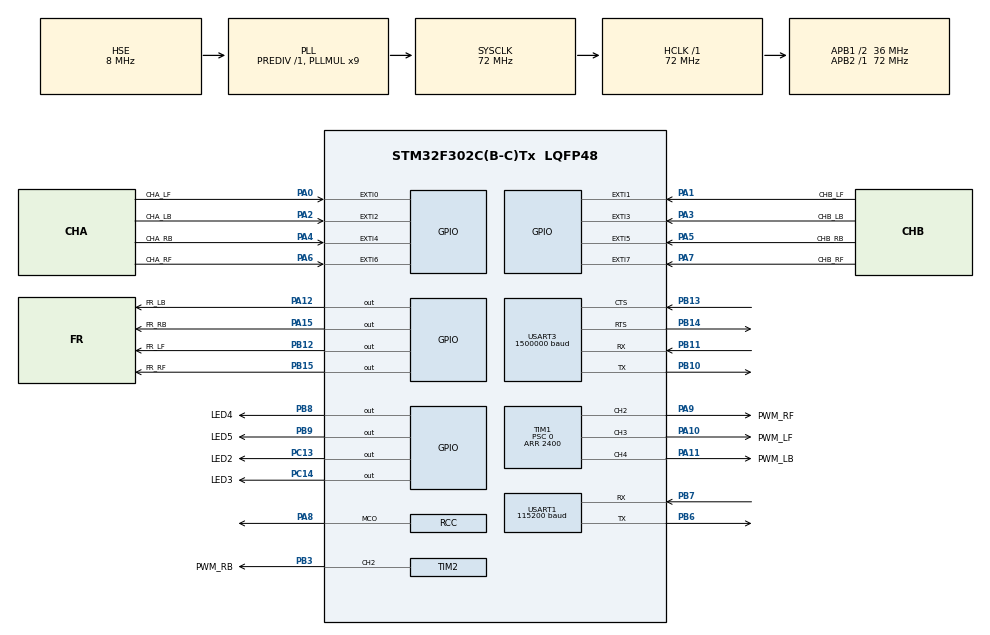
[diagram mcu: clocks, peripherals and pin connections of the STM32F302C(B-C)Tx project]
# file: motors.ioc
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Dma.Request0=USART3_RX
Dma.Request1=USART3_TX
Dma.USART3_RX.0.Direction=DMA_PERIPH_TO_MEMORY
Dma.USART3_RX.0.Instance=DMA1_Channel3
Dma.USART3_RX.0.MemDataAlignment=DMA_MDATAALIGN_BYTE
Dma.USART3_RX.0.MemInc=DMA_MINC_ENABLE
Dma.USART3_RX.0.Mode=DMA_NORMAL
Dma.USART3_RX.0.PeriphDataAlignment=DMA_PDATAALIGN_BYTE
Dma.USART3_RX.0.PeriphInc=DMA_PINC_DISABLE
Dma.USART3_RX.0.Priority=DMA_PRIORITY_LOW
Dma.USART3_TX.1.Direction=DMA_MEMORY_TO_PERIPH
Dma.USART3_TX.1.Instance=DMA1_Channel2
Dma.USART3_TX.1.MemDataAlignment=DMA_MDATAALIGN_BYTE
Dma.USART3_TX.1.MemInc=DMA_MINC_ENABLE
Dma.USART3_TX.1.Mode=DMA_NORMAL
Dma.USART3_TX.1.PeriphDataAlignment=DMA_PDATAALIGN_BYTE
Dma.USART3_TX.1.PeriphInc=DMA_PINC_DISABLE
Dma.USART3_TX.1.Priority=DMA_PRIORITY_LOW
Mcu.Family=STM32F3
Mcu.Name=STM32F302C(B-C)Tx
Mcu.Package=LQFP48
Mcu.UserConstants=MAX_PWM,2400
NVIC.DMA1_Channel2_IRQn=true\:0\:0\:false\:false\:true\:false
NVIC.DMA1_Channel3_IRQn=true\:0\:0\:false\:false\:true\:false
NVIC.PriorityGroup=NVIC_PRIORITYGROUP_4
NVIC.TIM1_UP_TIM16_IRQn=true\:0\:0\:false\:false\:true\:true
NVIC.TIM4_IRQn=true\:0\:0\:false\:false\:true\:true
NVIC.USART1_IRQn=true\:0\:0\:false\:false\:true\:true
NVIC.USART3_IRQn=true\:0\:0\:false\:false\:true\:true
PA0.GPIO_Label=CHA_LF
PA0.GPIO_ModeDefaultEXTI=GPIO_MODE_IT_RISING_FALLING
PA0.GPIO_PuPd=GPIO_NOPULL
PA0.Signal=GPXTI0
PA1.GPIO_Label=CHB_LF
PA1.GPIO_ModeDefaultEXTI=GPIO_MODE_IT_RISING_FALLING
PA1.GPIO_PuPd=GPIO_NOPULL
PA1.Signal=GPXTI1
PA10.GPIO_Label=PWM_LF
PA10.Signal=S_TIM1_CH3
PA11.GPIO_Label=PWM_LB
PA11.Signal=S_TIM1_CH4
PA12.GPIO_Label=FR_LB
PA12.Signal=GPIO_Output
PA13.Mode=Serial_Wire
PA13.Signal=SYS_JTMS-SWDIO
PA14.Mode=Serial_Wire
PA14.Signal=SYS_JTCK-SWCLK
PA15.GPIO_Label=FR_RB
PA15.Signal=GPIO_Output
PA2.GPIO_Label=CHA_LB
PA2.GPIO_ModeDefaultEXTI=GPIO_MODE_IT_RISING_FALLING
PA2.GPIO_PuPd=GPIO_NOPULL
PA2.Signal=GPXTI2
PA3.GPIO_Label=CHB_LB
PA3.GPIO_ModeDefaultEXTI=GPIO_MODE_IT_RISING_FALLING
PA3.GPIO_PuPd=GPIO_NOPULL
PA3.Signal=GPXTI3
PA4.GPIO_Label=CHA_RB
PA4.GPIO_ModeDefaultEXTI=GPIO_MODE_IT_RISING_FALLING
PA4.GPIO_PuPd=GPIO_NOPULL
PA4.Signal=GPXTI4
PA5.GPIO_Label=CHB_RB
PA5.GPIO_ModeDefaultEXTI=GPIO_MODE_IT_RISING_FALLING
PA5.GPIO_PuPd=GPIO_NOPULL
PA5.Signal=GPXTI5
PA6.GPIO_Label=CHA_RF
PA6.GPIO_ModeDefaultEXTI=GPIO_MODE_IT_RISING_FALLING
PA6.GPIO_PuPd=GPIO_NOPULL
PA6.Signal=GPXTI6
PA7.GPIO_Label=CHB_RF
PA7.GPIO_ModeDefaultEXTI=GPIO_MODE_IT_RISING_FALLING
PA7.GPIO_PuPd=GPIO_NOPULL
PA7.Signal=GPXTI7
PA8.GPIO_Speed=GPIO_SPEED_FREQ_HIGH
PA8.Mode=Clock-out
PA8.Signal=RCC_MCO
PA9.GPIO_Label=PWM_RF
PA9.Signal=S_TIM1_CH2
PB10.Mode=Asynchronous
PB10.Signal=USART3_TX
PB11.Mode=Asynchronous
PB11.Signal=USART3_RX
PB12.GPIO_Label=FR_LF
PB12.Signal=GPIO_Output
PB13.Mode=CTS_RTS
PB13.Signal=USART3_CTS
PB14.Mode=CTS_RTS
PB14.Signal=USART3_RTS
PB15.GPIO_Label=FR_RF
PB15.Signal=GPIO_Output
PB3.GPIO_Label=PWM_RB
PB3.Signal=S_TIM2_CH2
PB6.Mode=Asynchronous
PB6.Signal=USART1_TX
PB7.Mode=Asynchronous
PB7.Signal=USART1_RX
PB8.GPIO_Label=LED4
PB8.Signal=GPIO_Output
PB9.GPIO_Label=LED5
PB9.Signal=GPIO_Output
PC13.GPIO_Label=LED2
PC13.Signal=GPIO_Output
PC14-OSC32_IN.GPIO_Label=LED3
PC14-OSC32_IN.Signal=GPIO_Output
PF0-OSC_IN.Mode=HSE-External-Oscillator
PF0-OSC_IN.Signal=RCC_OSC_IN
PF1-OSC_OUT.Mode=HSE-External-Oscillator
PF1-OSC_OUT.Signal=RCC_OSC_OUT
ProjectManager.HeapSize=0x200
ProjectManager.StackSize=0x400
ProjectManager.TargetToolchain=SW4STM32
RCC.AHBFreq_Value=72000000
RCC.APB1CLKDivider=RCC_HCLK_DIV2
RCC.APB1Freq_Value=36000000
RCC.APB1TimFreq_Value=72000000
RCC.APB2Freq_Value=72000000
RCC.APB2TimFreq_Value=72000000
RCC.CortexFreq_Value=72000000
RCC.HCLKFreq_Value=72000000
RCC.HSE_VALUE=8000000
RCC.HSI_VALUE=8000000
RCC.LSE_VALUE=32768
RCC.PLLMUL=RCC_PLL_MUL9
RCC.PLLSourceVirtual=RCC_PLLSOURCE_HSE
RCC.RCC_MCOSource=RCC_MCO1SOURCE_HSE
RCC.SYSCLKFreq_VALUE=72000000
RCC.SYSCLKSourceVirtual=RCC_SYSCLKSOURCE_PLLCLK
RCC.USBFreq_Value=72000000
SH.S_TIM1_CH2.0=TIM1_CH2,PWM Generation2 CH2
SH.S_TIM1_CH3.0=TIM1_CH3,PWM Generation3 CH3
SH.S_TIM1_CH4.0=TIM1_CH4,PWM Generation4 CH4
SH.S_TIM2_CH2.0=TIM2_CH2,PWM Generation2 CH2
TIM1.Channel-PWM\ Generation2\ CH2=TIM_CHANNEL_2
TIM1.Channel-PWM\ Generation3\ CH3=TIM_CHANNEL_3
TIM1.Channel-PWM\ Generation4\ CH4=TIM_CHANNEL_4
TIM1.Period=2400
TIM1.Prescaler=0
TIM2.Channel-PWM\ Generation2\ CH2=TIM_CHANNEL_2
TIM2.Period=2400
TIM2.Prescaler=0
TIM4.Period=10000
TIM4.Prescaler=71
USART1.BaudRate=115200
USART1.SwapParam=ADVFEATURE_SWAP_ENABLE
USART1.VirtualMode-Asynchronous=VM_ASYNC
USART3.BaudRate=1500000
USART3.SwapParam=ADVFEATURE_SWAP_DISABLE
USART3.VirtualMode-Asynchronous=VM_ASYNC
VP_TIM4_VS_ClockSourceINT.Mode=Internal
board=motors

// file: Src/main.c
/**
  ******************************************************************************
  * @file           : main.c
  * @brief          : Main program body
  ******************************************************************************
  ** This notice applies to any and all portions of this file
  * that are not between comment pairs USER CODE BEGIN and
  * USER CODE END. Other portions of this file, whether
  * inserted by the user or by software development tools
  * are owned by their respective copyright owners.
  *
  * COPYRIGHT(c) 2018 STMicroelectronics
  *
  * Redistribution and use in source and binary forms, with or without modification,
  * are permitted provided that the following conditions are met:
  *   1. Redistributions of source code must retain the above copyright notice,
  *      this list of conditions and the following disclaimer.
  *   2. Redistributions in binary form must reproduce the above copyright notice,
  *      this list of conditions and the following disclaimer in the documentation
  *      and/or other materials provided with the distribution.
  *   3. Neither the name of STMicroelectronics nor the names of its contributors
  *      may be used to endorse or promote products derived from this software
  *      without specific prior written permission.
  *
  * THIS SOFTWARE IS PROVIDED BY THE COPYRIGHT HOLDERS AND CONTRIBUTORS "AS IS"
  * AND ANY EXPRESS OR IMPLIED WARRANTIES, INCLUDING, BUT NOT LIMITED TO, THE
  * IMPLIED WARRANTIES OF MERCHANTABILITY AND FITNESS FOR A PARTICULAR PURPOSE ARE
  * DISCLAIMED. IN NO EVENT SHALL THE COPYRIGHT HOLDER OR CONTRIBUTORS BE LIABLE
  * FOR ANY DIRECT, INDIRECT, INCIDENTAL, SPECIAL, EXEMPLARY, OR CONSEQUENTIAL
  * DAMAGES (INCLUDING, BUT NOT LIMITED TO, PROCUREMENT OF SUBSTITUTE GOODS OR
  * SERVICES; LOSS OF USE, DATA, OR PROFITS; OR BUSINESS INTERRUPTION) HOWEVER
  * CAUSED AND ON ANY THEORY OF LIABILITY, WHETHER IN CONTRACT, STRICT LIABILITY,
  * OR TORT (INCLUDING NEGLIGENCE OR OTHERWISE) ARISING IN ANY WAY OUT OF THE USE
  * OF THIS SOFTWARE, EVEN IF ADVISED OF THE POSSIBILITY OF SUCH DAMAGE.
  *
  ******************************************************************************
  */
#include "main.h"
#include "stm32f3xx_hal.h"
#include "dma.h"
#include "tim.h"
#include "usart.h"
#include "gpio.h"

/* USER CODE BEGIN Includes */
#include <stdlib.h>
#include <math.h>
#include "PuttyInterface/PuttyInterface.h"
#include "motorscomm/motorscomm.h"
#include "encoder/encoder.h"

/* USER CODE END Includes */

/* USER CODE BEGIN PV */
/* Private variables ---------------------------------------------------------*/
PuttyInterfaceTypeDef puttystruct;
motorscomm_HandleTypeDef motorscommstruct = {
		.huart = &huart3
};

typedef enum {
	motorscomm_Initialize,
	motorscomm_Transmitting,
	motorscomm_Idle,
	motorscomm_Failed
}motorscomm_states;
motorscomm_states motorscomm_state = motorscomm_Initialize;

uint64_t while_cnt = 0;
uint64_t while_cnt_cnt = 0;
uint64_t while_avg = 0;

int TX_err_count = 0;
int RX_err_count = 0;
int RX_count = 0;
int TX_count = 0;
HAL_StatusTypeDef error_code;

encoder_HandleTypeDef encoder_LB = {
	.CHANNEL[0] = CHA_LB_Pin,
	.CHANNEL[1] = CHB_LB_Pin,
	.CHANNEL_Port[0] = CHA_LB_GPIO_Port,
	.CHANNEL_Port[1] = CHA_LB_GPIO_Port,
	.MeasurementTimer = NULL,
	.cnt[0] = 0,
	.cnt[1] = 0,
	.direction = 0,
	.period = 0,
	.last_tim_sample = 0,
	.prev_tim_sample = 0,
	.speed = 0,
	.COUNTS_PER_ROTATION = 1024,
	.CLK_FREQUENCY = 72000000,
	.GEAR_RATIO = 3
};

/* USER CODE END PV */

void SystemClock_Config(void);

/* USER CODE BEGIN PFP */
/* Private function prototypes -----------------------------------------------*/
void HandleCommand(char* input);
void ControlMotor(wheel_number wheel, float duty_cycle);
/* USER CODE END PFP */

int main(void)
{

  /* MCU Configuration----------------------------------------------------------*/

  /* Reset of all peripherals, Initializes the Flash interface and the Systick. */
  HAL_Init();

  /* Configure the system clock */
  SystemClock_Config();

  /* Initialize all configured peripherals */
  MX_GPIO_Init();
  MX_DMA_Init();
  MX_USART3_UART_Init();
  MX_TIM1_Init();
  MX_USART1_UART_Init();
  MX_TIM2_Init();
  MX_TIM4_Init();
  /* USER CODE BEGIN 2 */
  puttystruct.handle = HandleCommand;
  PuttyInterface_Init(&puttystruct);
  motorscommstruct.TX_message.id[0] = motorscomm_LF;
  motorscommstruct.TX_message.id[1] = motorscomm_LB;
  motorscommstruct.TX_message.id[2] = motorscomm_RB;
  motorscommstruct.TX_message.id[3] = motorscomm_RF;
  motorscommstruct.TX_message.wheel_speed[0] = 3.3;
  motorscommstruct.TX_message.wheel_speed[1] = 2.2;
  motorscommstruct.TX_message.wheel_speed[2] = 1.1;
  motorscommstruct.TX_message.wheel_speed[3] = 0.0;

//  HAL_TIM_Base_Start(&htim1);\
  HAL_TIM_PWM_Start(&htim1,TIM_CHANNEL_2);
  HAL_TIM_PWM_Start(&htim1,TIM_CHANNEL_3);
  HAL_TIM_PWM_Start(&htim1,TIM_CHANNEL_4);
  HAL_TIM_PWM_Start(&htim2,TIM_CHANNEL_2);
  uint led_count = 0;
  /* USER CODE END 2 */

  /* Infinite loop */
  /* USER CODE BEGIN WHILE */
  HAL_TIM_Base_Start_IT(&htim4);

  while (1)
  {
	  while_cnt++;
	  switch(motorscomm_state){
	  case motorscomm_Initialize:
		  error_code = motorscomm_HAL_UART_Receive(&motorscommstruct);
		  if(error_code == HAL_OK){
			  motorscomm_state = motorscomm_Idle;
		  }else{
			  // transmission failed, trying again next while loop cycle
			  RX_err_count++;
			  uprintf("Transmit failed error code:[%d]\n\r", error_code);
		  }
		  break;
	  case motorscomm_Transmitting:
	  case motorscomm_Idle:
		  if(motorscommstruct.UART2_Rx_flag){
			  motorscommstruct.UART2_Rx_flag = false;
			  motorscomm_DecodeBuf(&motorscommstruct);
			  for(uint i = 0; i < 4; i++){
				  ControlMotor(motorscommstruct.RX_message.id[i], motorscommstruct.RX_message.wheel_speed[i]);
			  }
		  }
		  break;
	  case motorscomm_Failed:
		  HAL_GPIO_WritePin(LED2_GPIO_Port, LED2_Pin, 1);
		  break;
	  }

	  if((HAL_GetTick() > led_count + 500)){
		  led_count = HAL_GetTick();
		  HAL_GPIO_TogglePin(LED3_GPIO_Port, LED3_Pin);
		  uprintf("suc/err:TX[%d/%d];RX[%d/%d]\n\r", TX_count, TX_err_count, RX_count, RX_err_count);
		  uprintf("received is [%f, %f, %f, %f]\n\r", motorscommstruct.RX_message.wheel_speed[0], motorscommstruct.RX_message.wheel_speed[1], motorscommstruct.RX_message.wheel_speed[2], motorscommstruct.RX_message.wheel_speed[3]);
		  uint8_t* ptr = motorscommstruct.UART2RX_buf;
		  uprintf("RX in hex[%02X%02X%02X%02X %02X%02X%02X%02X %02X%02X%02X%02X %02X%02X%02X%02X]\n\r", *ptr++, *ptr++, *ptr++, *ptr++, *ptr++, *ptr++, *ptr++, *ptr++, *ptr++, *ptr++, *ptr++, *ptr++, *ptr++, *ptr++, *ptr++, *ptr++);
		  ptr = motorscommstruct.UART2TX_buf;
		  uprintf("TX in hex[%02X%02X%02X%02X %02X%02X%02X%02X %02X%02X%02X%02X %02X%02X%02X%02X]\n\r", *ptr++, *ptr++, *ptr++, *ptr++, *ptr++, *ptr++, *ptr++, *ptr++, *ptr++, *ptr++, *ptr++, *ptr++, *ptr++, *ptr++, *ptr++, *ptr++);
		  uprintf("avg n_whileloops = [%ld]\n\r", while_avg);

	  }
  /* USER CODE END WHILE */

  /* USER CODE BEGIN 3 */
	  PuttyInterface_Update(&puttystruct);
  }
  /* USER CODE END 3 */

}

void SystemClock_Config(void)
{

  RCC_OscInitTypeDef RCC_OscInitStruct;
  RCC_ClkInitTypeDef RCC_ClkInitStruct;
  RCC_PeriphCLKInitTypeDef PeriphClkInit;

    /**Initializes the CPU, AHB and APB busses clocks
    */
  RCC_OscInitStruct.OscillatorType = RCC_OSCILLATORTYPE_HSE;
  RCC_OscInitStruct.HSEState = RCC_HSE_ON;
  RCC_OscInitStruct.HSEPredivValue = RCC_HSE_PREDIV_DIV1;
  RCC_OscInitStruct.HSIState = RCC_HSI_ON;
  RCC_OscInitStruct.PLL.PLLState = RCC_PLL_ON;
  RCC_OscInitStruct.PLL.PLLSource = RCC_PLLSOURCE_HSE;
  RCC_OscInitStruct.PLL.PLLMUL = RCC_PLL_MUL9;
  if (HAL_RCC_OscConfig(&RCC_OscInitStruct) != HAL_OK)
  {
    _Error_Handler(__FILE__, __LINE__);
  }

    /**Initializes the CPU, AHB and APB busses clocks
    */
  RCC_ClkInitStruct.ClockType = RCC_CLOCKTYPE_HCLK|RCC_CLOCKTYPE_SYSCLK
                              |RCC_CLOCKTYPE_PCLK1|RCC_CLOCKTYPE_PCLK2;
  RCC_ClkInitStruct.SYSCLKSource = RCC_SYSCLKSOURCE_PLLCLK;
  RCC_ClkInitStruct.AHBCLKDivider = RCC_SYSCLK_DIV1;
  RCC_ClkInitStruct.APB1CLKDivider = RCC_HCLK_DIV2;
  RCC_ClkInitStruct.APB2CLKDivider = RCC_HCLK_DIV1;

  if (HAL_RCC_ClockConfig(&RCC_ClkInitStruct, FLASH_LATENCY_2) != HAL_OK)
  {
    _Error_Handler(__FILE__, __LINE__);
  }

  PeriphClkInit.PeriphClockSelection = RCC_PERIPHCLK_USART1|RCC_PERIPHCLK_USART3
                              |RCC_PERIPHCLK_TIM1;
  PeriphClkInit.Usart1ClockSelection = RCC_USART1CLKSOURCE_PCLK2;
  PeriphClkInit.Usart3ClockSelection = RCC_USART3CLKSOURCE_PCLK1;
  PeriphClkInit.Tim1ClockSelection = RCC_TIM1CLK_HCLK;
  if (HAL_RCCEx_PeriphCLKConfig(&PeriphClkInit) != HAL_OK)
  {
    _Error_Handler(__FILE__, __LINE__);
  }

  HAL_RCC_MCOConfig(RCC_MCO, RCC_MCO1SOURCE_HSE, RCC_MCODIV_1);

    /**Configure the Systick interrupt time
    */
  HAL_SYSTICK_Config(HAL_RCC_GetHCLKFreq()/1000);

    /**Configure the Systick
    */
  HAL_SYSTICK_CLKSourceConfig(SYSTICK_CLKSOURCE_HCLK);

  /* SysTick_IRQn interrupt configuration */
  HAL_NVIC_SetPriority(SysTick_IRQn, 0, 0);
}

/* USER CODE BEGIN 4 */
//!!this function will receive the commands when the are complete strcmp(input, "command") will return zero if "command" is equal to input
void ControlMotor(wheel_number wheel, float duty_cycle){
	bool FR = duty_cycle > 0;
	duty_cycle = fabs(duty_cycle);
	if(duty_cycle > 1){
		duty_cycle = 1;
	}
	switch(wheel){
	case motorscomm_LF:
		__HAL_TIM_SET_COMPARE(&htim1, TIM_CHANNEL_3, (uint)(duty_cycle*MAX_PWM));
		HAL_GPIO_WritePin(FR_LF_GPIO_Port, FR_LF_Pin, FR);
		break;
	case motorscomm_LB:
		__HAL_TIM_SET_COMPARE(&htim1, TIM_CHANNEL_4, (uint)(duty_cycle*MAX_PWM));
		HAL_GPIO_WritePin(FR_LB_GPIO_Port, FR_LB_Pin, FR);
		break;
	case motorscomm_RB:
		__HAL_TIM_SET_COMPARE(&htim2, TIM_CHANNEL_2, (uint)(duty_cycle*MAX_PWM));
		HAL_GPIO_WritePin(FR_RB_GPIO_Port, FR_RB_Pin, FR);
		break;
	case motorscomm_RF:
		__HAL_TIM_SET_COMPARE(&htim1, TIM_CHANNEL_2, (uint)(duty_cycle*MAX_PWM));
		HAL_GPIO_WritePin(FR_RF_GPIO_Port, FR_RF_Pin, FR);
		break;
	}
}
void HandleCommand(char* input){
	if(!strcmp(input, "start")){
		uprintf("started;>)\n\r");
	}else if(!strcmp(input, "stop")){
		uprintf("stopped\n\r");
	}
}

void HAL_GPIO_EXTI_Callback(uint16_t GPIO_Pin)
{
	/*for(uint32_t i = 0; i < AMOUNT_OF_MOTORS; i++ ){
		encoder_Input(GPIO_Pin, motors[i].encoder);
	}*/
}

void HAL_TIM_PeriodElapsedCallback(TIM_HandleTypeDef *htim) {
	if(htim->Instance == htim4.Instance){
		while_cnt_cnt++;
		while_avg = ((while_avg * while_cnt_cnt - while_avg) + while_cnt)/while_cnt_cnt;
		while_cnt = 0;
	}
}
void HAL_UART_RxCpltCallback(UART_HandleTypeDef *huart){
	if(huart->Instance == huart1.Instance){
		puttystruct.huart2_Rx_len = 1;
		puttystruct.small_buf[0] = *(huart->pRxBuffPtr-1);
	}
	if(huart->Instance == huart3.Instance){
		if(motorscomm_state == motorscomm_Idle){
			motorscommstruct.UART2_Rx_flag = true;
			// dont look at these lines, they're somehow necessary
			uint8_t buf = motorscommstruct.UART2RX_buf[0];
			memmove(motorscommstruct.UART2RX_buf, &motorscommstruct.UART2RX_buf[1], 15);
			motorscommstruct.UART2RX_buf[15] = buf;
			// end of nonsense
			error_code = motorscomm_UART_StartTransmit(&motorscommstruct, 0);
			if(error_code == HAL_OK){
			  // transmission successful
			  motorscomm_state = motorscomm_Transmitting;
			}else{
			  // transmission failed, trying again next while loop cycle
			  TX_err_count++;
			  motorscomm_state = motorscomm_Failed;
			  uprintf("Transmit failed error code:[%d]\n\r", error_code);
			}
			RX_count++;
		}else{
			uprintf("motorscomm_Failed from HAL_UART_RxCpltCallback; motorstate = [%d]\n\r", motorscomm_state);
			motorscomm_state = motorscomm_Failed;
		}
	}
}
void HAL_UART_TxCpltCallback(UART_HandleTypeDef *huart){

	if(huart->Instance == huart3.Instance){
		if(motorscomm_Transmitting == motorscomm_state){
			error_code = motorscomm_HAL_UART_Receive(&motorscommstruct);
			if(error_code == HAL_OK){
			  motorscomm_state = motorscomm_Idle;
			}else{
			  // transmission failed, trying again next while loop cycle
			  RX_err_count++;
			  uprintf("Transmit failed error code:[%d]\n\r", error_code);
			}
			TX_count++;
		}else{
			uprintf("motorscomm_Failed from HAL_UART_TxCpltCallback; motorstate = [%d]\n\r", motorscomm_state);
			motorscomm_state = motorscomm_Failed;
		}
	}
}

/* USER CODE END 4 */

void _Error_Handler(char *file, int line)
{
  while(1)
  {
  }
}

/************************ (C) COPYRIGHT STMicroelectronics *****END OF FILE****/
